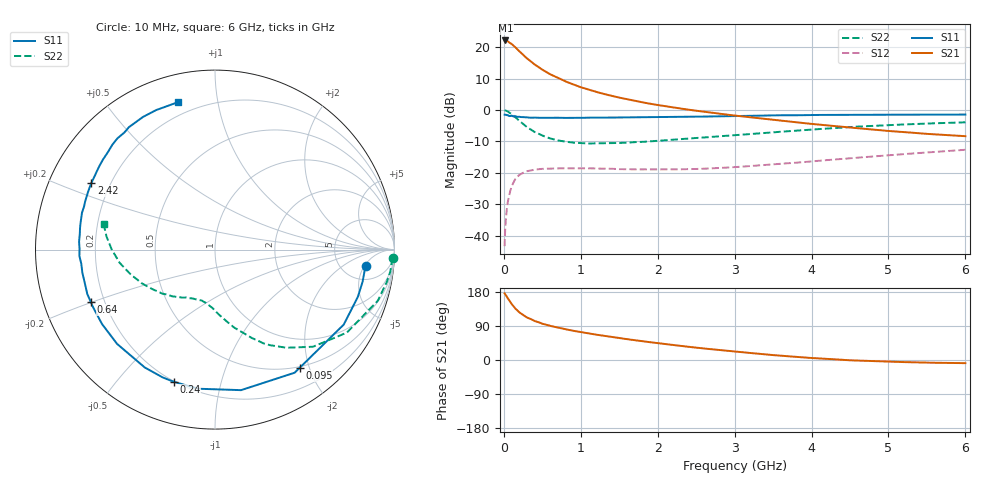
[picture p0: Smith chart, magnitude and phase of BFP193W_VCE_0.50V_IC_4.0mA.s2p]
! Infineon Technologies  Discrete & RF Semiconductors
! BFP193W
! VCE = 0.50V,  IC =  4.0 mA
! Common Emitter S-Parameters:  Jan 2016
# GHz  S  MA  R  50
!  f  S11  S21  S12  S22
! GHz  MAG  ANG  MAG  ANG  MAG  ANG  MAG  ANG
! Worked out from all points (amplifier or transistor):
!   210 points, 10 MHz to 6 GHz, reference 50 ohm
!   highest |S21| = 22.1 dB at 20 MHz (marker M1)
!   |S21| within 3 dB of that: start of sweep to 183.4 MHz
!   unconditionally stable (mu >= 1): 1.64 GHz to end of sweep
!   at 185 MHz: K = 0.14, MSG = 20.1 dB, |S12| = -21.1 dB
!   at 1.52 GHz: K = 0.94, MSG = 11.3 dB, |S12| = -18.8 dB
!   at 6 GHz: K = 1.15, MAG = -0.2 dB, |S12| = -12.7 dB
!   S11 on the Smith chart (normalised r, x): 10 MHz: 8.47, -5.27; 95 MHz: 0.48, -1.85; 240 MHz: 0.20, -0.72; 640 MHz: 0.15, -0.20; 2.42 GHz: 0.13, +0.25; 6 GHz: 0.13, +0.77
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0.01  0.8435 -6.1  12.78 175.8  0.0068 86.7  0.9905 -2.7
0.02  0.8416 -12.3  12.79 173.1  0.0142 82.8  0.9843 -7.2
0.03  0.8383 -18.3  12.73 169.9  0.0206 80.3  0.9737 -10.7
0.05  0.8301 -30.2  12.44 163.1  0.0335 74.2  0.951 -17.4
0.095  0.8101 -54.4  11.37 149.7  0.0577 61.3  0.8735 -30.6
0.1  0.8169 -57.1  11.29 148.1  0.0605 60.5  0.868 -32.2
0.15  0.7964 -79.5  9.973 135.5  0.0798 49.5  0.7683 -44.8
0.2  0.7807 -96.8  8.646 125.9  0.0924 41.7  0.6758 -54.0
0.24  0.7715 -107.4  7.777 120.1  0.0988 36.6  0.6152 -60.0
0.3  0.7644 -120.8  6.641 112.3  0.1061 30.9  0.5353 -67.2
0.4  0.7574 -136.1  5.306 102.9  0.1123 24.2  0.4472 -76.2
0.5  0.7538 -146.7  4.383 95.8  0.1158 20.2  0.3915 -82.5
0.64  0.751 -157.2  3.528 88.4  0.1175 16.4  0.3435 -89.5
0.8  0.7488 -166.1  2.853 81.1  0.118 13.7  0.3133 -95.8
1.02  0.7503 -174.6  2.265 72.9  0.1179 11.7  0.2965 -102.7
1.4  0.7576 174.0  1.681 60.7  0.1162 10.7  0.2976 -111.9
2.02  0.7714 159.8  1.191 44.0  0.1135 14.8  0.3251 -124.7
2.42  0.7825 151.7  1.003 34.4  0.1144 18.4  0.3537 -132.7
3.1  0.8032 139.5  0.791 20.5  0.1255 25.4  0.4052 -146.1
4.1  0.8344 123.8  0.586 4.2  0.1558 30.4  0.4972 -165.2
5.1  0.8432 112.1  0.455 -5.0  0.1943 30.0  0.5828 178.2
6  0.8468 104.1  0.383 -8.3  0.2328 27.1  0.6369 167.1
